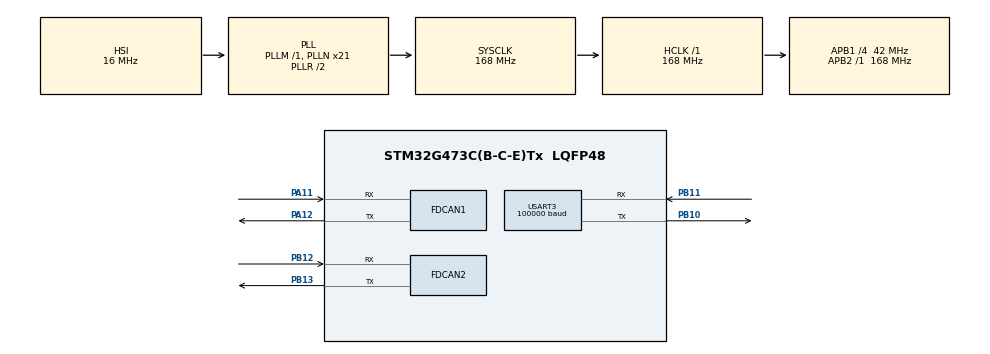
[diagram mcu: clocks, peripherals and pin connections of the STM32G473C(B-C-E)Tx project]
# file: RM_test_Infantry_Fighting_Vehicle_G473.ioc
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Dma.Request0=USART3_RX
Dma.USART3_RX.0.Direction=DMA_PERIPH_TO_MEMORY
Dma.USART3_RX.0.EventEnable=DISABLE
Dma.USART3_RX.0.Instance=DMA1_Channel1
Dma.USART3_RX.0.MemDataAlignment=DMA_MDATAALIGN_BYTE
Dma.USART3_RX.0.MemInc=DMA_MINC_ENABLE
Dma.USART3_RX.0.Mode=DMA_CIRCULAR
Dma.USART3_RX.0.PeriphDataAlignment=DMA_PDATAALIGN_BYTE
Dma.USART3_RX.0.PeriphInc=DMA_PINC_DISABLE
Dma.USART3_RX.0.Polarity=HAL_DMAMUX_REQ_GEN_RISING
Dma.USART3_RX.0.Priority=DMA_PRIORITY_LOW
Dma.USART3_RX.0.RequestNumber=1
Dma.USART3_RX.0.SignalID=NONE
Dma.USART3_RX.0.SyncEnable=DISABLE
Dma.USART3_RX.0.SyncPolarity=HAL_DMAMUX_SYNC_NO_EVENT
Dma.USART3_RX.0.SyncRequestNumber=1
Dma.USART3_RX.0.SyncSignalID=NONE
FDCAN1.CalculateBaudRateNominal=525000
FDCAN1.CalculateTimeBitNominal=1904
FDCAN1.CalculateTimeQuantumNominal=380.95238095238096
FDCAN2.CalculateBaudRateNominal=1000000
FDCAN2.CalculateTimeBitNominal=1000
FDCAN2.CalculateTimeQuantumNominal=71.42857142857143
FDCAN2.NominalPrescaler=3
FDCAN2.NominalTimeSeg1=10
FDCAN2.NominalTimeSeg2=3
Mcu.Family=STM32G4
Mcu.Name=STM32G473C(B-C-E)Tx
Mcu.Package=LQFP48
NVIC.DMA1_Channel1_IRQn=true\:0\:0\:false\:false\:true\:false\:true\:true
NVIC.FDCAN2_IT0_IRQn=true\:0\:0\:false\:false\:true\:true\:true\:true
NVIC.FDCAN2_IT1_IRQn=true\:0\:0\:false\:false\:true\:true\:true\:true
NVIC.PriorityGroup=NVIC_PRIORITYGROUP_4
NVIC.USART3_IRQn=true\:0\:0\:false\:false\:true\:true\:true\:true
PA11.Mode=FDCAN_Activate
PA11.Signal=FDCAN1_RX
PA12.Mode=FDCAN_Activate
PA12.Signal=FDCAN1_TX
PA13.Mode=Serial_Wire
PA13.Signal=SYS_JTMS-SWDIO
PA14.Mode=Serial_Wire
PA14.Signal=SYS_JTCK-SWCLK
PB10.Mode=Asynchronous
PB10.Signal=USART3_TX
PB11.Mode=Asynchronous
PB11.Signal=USART3_RX
PB12.Mode=FDCAN_Activate
PB12.Signal=FDCAN2_RX
PB13.Mode=FDCAN_Activate
PB13.Signal=FDCAN2_TX
PF0-OSC_IN.Mode=HSE-External-Oscillator
PF0-OSC_IN.Signal=RCC_OSC_IN
PF1-OSC_OUT.Mode=HSE-External-Oscillator
PF1-OSC_OUT.Signal=RCC_OSC_OUT
ProjectManager.HeapSize=0x200
ProjectManager.StackSize=0x400
ProjectManager.TargetToolchain=MDK-ARM V5.32
RCC.ADC12Freq_Value=168000000
RCC.ADC345Freq_Value=168000000
RCC.AHBFreq_Value=168000000
RCC.APB1CLKDivider=RCC_HCLK_DIV4
RCC.APB1Freq_Value=42000000
RCC.APB1TimFreq_Value=84000000
RCC.APB2Freq_Value=168000000
RCC.APB2TimFreq_Value=168000000
RCC.CortexFreq_Value=168000000
RCC.EXTERNAL_CLOCK_VALUE=12288000
RCC.HCLKFreq_Value=168000000
RCC.HSE_VALUE=8000000
RCC.HSI48_VALUE=48000000
RCC.HSI_VALUE=16000000
RCC.LSE_VALUE=32768
RCC.PLLN=21
RCC.SYSCLKFreq_VALUE=168000000
RCC.SYSCLKSource=RCC_SYSCLKSOURCE_PLLCLK
RCC.USBFreq_Value=168000000
RCC.VCOOutputFreq_Value=336000000
USART3.BaudRate=100000
USART3.Parity=PARITY_EVEN
USART3.RxPinLevelInvertParam=ADVFEATURE_RXINV_ENABLE
USART3.VirtualMode-Asynchronous=VM_ASYNC
USART3.WordLength=WORDLENGTH_9B
VP_SYS_VS_DBSignals.Mode=DisableDeadBatterySignals
board=custom

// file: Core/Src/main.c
/* USER CODE BEGIN Header */
/**
  ******************************************************************************
  * @file           : main.c
  * @brief          : Main program body
  ******************************************************************************
  * @attention
  *
  * Copyright (c) 2024 STMicroelectronics.
  * All rights reserved.
  *
  * This software is licensed under terms that can be found in the LICENSE file
  * in the root directory of this software component.
  * If no LICENSE file comes with this software, it is provided AS-IS.
  *
  ******************************************************************************
  */
/* USER CODE END Header */
#include "main.h"
#include "dma.h"
#include "fdcan.h"
#include "usart.h"
#include "gpio.h"

/* USER CODE BEGIN Includes */
#include "DR16.h"
#include "string.h"
#include "motor.h"
#include "pid.h"
#include "motor_message.h"
/* USER CODE END Includes */

/* USER CODE BEGIN PD */

#define rxBufferLen 18
#define __HAL_DMA_SET_COUNTER(__HANDLE__, __COUNTER__) ((__HANDLE__)->Instance->CNDTR = (uint16_t)(__COUNTER__))

#define CAN_3508_M1_ID 0x201
#define CAN_3508_M2_ID 0x202
#define CAN_3508_M3_ID 0x203
#define CAN_3508_M4_ID 0x204
#define CAN_6020_M1_ID 0x205
#define CAN_6020_M2_ID 0x206

//#define __HAL_DMA_GET_COUNTER(__HANDLE__) ((__HANDLE__)->Instance->CNDTR)

/* USER CODE END PD */

/* USER CODE BEGIN PV */

char DR16Buffer[rxBufferLen] ;
Controller controller ;//DT7传过来的控制信息(all)
motor_tasks Motor_Tasks ;

//motor_tasks Motor_Tasks ;//所有电机的控制

/* USER CODE END PV */

void SystemClock_Config(void);

/* USER CODE BEGIN 0 */

void UART_InitDMAReceive(void);//空闲中断初始化

//DMA空闲中断回调函数
void UART_DMAIdleCallback( UART_HandleTypeDef *huart ) {
	if( huart == &huart3 ) {
		__HAL_DMA_DISABLE(huart->hdmarx) ;//停止DMA接收
		int dataLen = rxBufferLen-__HAL_DMA_GET_COUNTER(huart->hdmarx);

		DR16_command_process(&controller,(uint8_t*)DR16Buffer);//获取数据

		memset(DR16Buffer,0,sizeof(DR16Buffer));

		gimbal_control(&controller,&Motor_Tasks);
		chasis_moving_encoder( &Motor_Tasks , &controller );

		//重启DMA接收
		__HAL_DMA_SET_COUNTER(huart->hdmarx , rxBufferLen );
		__HAL_DMA_ENABLE(huart->hdmarx) ;//要先重设DMA计数器，再使能DMA

	}
}

void HAL_FDCAN_RxFifo0MsgPendingCallback(FDCAN_HandleTypeDef *hfdcan)  //FDCAN新消息中断
{
    FDCAN_RxHeaderTypeDef rxHeader;

    // 从 FIFO0 读取消息
	if(hfdcan == &hfdcan1 ) {

			uint8_t rxData[8]; // 根据数据长度调整
			if (HAL_FDCAN_GetRxMessage(hfdcan, FDCAN_RX_FIFO0, &rxHeader, rxData) == HAL_OK)
			{
					// 处理接收到的数据
					// 例如，可以根据 rxHeader.ID 进行消息分类
				switch (rxHeader.Identifier ) {
					case CAN_3508_M1_ID :
					{
						fdcan_message_get(&Motor_Tasks.chasis_motor_1,rxData );
						break;
					}
					case CAN_3508_M2_ID :
					{
						fdcan_message_get(&Motor_Tasks.chasis_motor_2,rxData );
						break;
					}
					case CAN_3508_M3_ID :
					{
						fdcan_message_get(&Motor_Tasks.chasis_motor_3,rxData );
						break;
					}
					case CAN_3508_M4_ID :
					{
						fdcan_message_get(&Motor_Tasks.chasis_motor_4,rxData );
						break;
					}
					case CAN_6020_M1_ID :
					{
						fdcan_message_get(&Motor_Tasks.gimbal_yaw_motor,rxData );
						break;
					}
					case CAN_6020_M2_ID :
					{
						fdcan_message_get(&Motor_Tasks.gimbal_pitch_motor,rxData );
						break;
					}
					default:
					{
						break ;
					}
				}
			}
		}

}

void Init_Motors() {

	Clear_Cascade_PID( &Motor_Tasks.gimbal_yaw_pid) ;//PID清理
	Init_Cascade_PID( &Motor_Tasks.gimbal_yaw_pid );//PID初始化
	Motor_Tasks.gimbal_yaw_motor.ex_angle = 0 ;
	Motor_Tasks.gimbal_yaw_motor.ex_speed = 0 ;

	Clear_Cascade_PID( &Motor_Tasks.gimbal_pitch_pid) ;//PID清理
	Init_Cascade_PID( &Motor_Tasks.gimbal_pitch_pid );//PID初始化
	Motor_Tasks.gimbal_pitch_motor.ex_angle = 0 ;
	Motor_Tasks.gimbal_pitch_motor.ex_speed = 0 ;

	//底盘PID的初始化
	Init_chasis_PID(&Motor_Tasks.chasis_pid_1);
	Init_chasis_PID(&Motor_Tasks.chasis_pid_2);
	Init_chasis_PID(&Motor_Tasks.chasis_pid_3);
	Init_chasis_PID(&Motor_Tasks.chasis_pid_4);

}

/* USER CODE END 0 */

int main(void)
{

  /* MCU Configuration--------------------------------------------------------*/

  /* Reset of all peripherals, Initializes the Flash interface and the Systick. */
  HAL_Init();

  /* Configure the system clock */
  SystemClock_Config();

  /* Initialize all configured peripherals */
  MX_GPIO_Init();
  MX_DMA_Init();
  MX_USART3_UART_Init();
  MX_FDCAN1_Init();
  MX_FDCAN2_Init();
  /* USER CODE BEGIN 2 */
	UART_InitDMAReceive();
	Init_Motors();
  /* USER CODE END 2 */

  /* Infinite loop */
  /* USER CODE BEGIN WHILE */
  while (1)
  {
		Motor_PID_update(&Motor_Tasks);
		chasis_pid_excute(&Motor_Tasks);
		chasis_motor_message_send(&hfdcan1,&Motor_Tasks);
		HAL_Delay(1);
    /* USER CODE END WHILE */

  }
}

void SystemClock_Config(void)
{
  RCC_OscInitTypeDef RCC_OscInitStruct = {0};
  RCC_ClkInitTypeDef RCC_ClkInitStruct = {0};

  /** Configure the main internal regulator output voltage
  */
  HAL_PWREx_ControlVoltageScaling(PWR_REGULATOR_VOLTAGE_SCALE1_BOOST);

  /** Initializes the RCC Oscillators according to the specified parameters
  * in the RCC_OscInitTypeDef structure.
  */
  RCC_OscInitStruct.OscillatorType = RCC_OSCILLATORTYPE_HSI;
  RCC_OscInitStruct.HSIState = RCC_HSI_ON;
  RCC_OscInitStruct.HSICalibrationValue = RCC_HSICALIBRATION_DEFAULT;
  RCC_OscInitStruct.PLL.PLLState = RCC_PLL_ON;
  RCC_OscInitStruct.PLL.PLLSource = RCC_PLLSOURCE_HSI;
  RCC_OscInitStruct.PLL.PLLM = RCC_PLLM_DIV1;
  RCC_OscInitStruct.PLL.PLLN = 21;
  RCC_OscInitStruct.PLL.PLLP = RCC_PLLP_DIV2;
  RCC_OscInitStruct.PLL.PLLQ = RCC_PLLQ_DIV2;
  RCC_OscInitStruct.PLL.PLLR = RCC_PLLR_DIV2;
  if (HAL_RCC_OscConfig(&RCC_OscInitStruct) != HAL_OK)
  {
    Error_Handler();
  }

  /** Initializes the CPU, AHB and APB buses clocks
  */
  RCC_ClkInitStruct.ClockType = RCC_CLOCKTYPE_HCLK|RCC_CLOCKTYPE_SYSCLK
                              |RCC_CLOCKTYPE_PCLK1|RCC_CLOCKTYPE_PCLK2;
  RCC_ClkInitStruct.SYSCLKSource = RCC_SYSCLKSOURCE_PLLCLK;
  RCC_ClkInitStruct.AHBCLKDivider = RCC_SYSCLK_DIV1;
  RCC_ClkInitStruct.APB1CLKDivider = RCC_HCLK_DIV4;
  RCC_ClkInitStruct.APB2CLKDivider = RCC_HCLK_DIV1;

  if (HAL_RCC_ClockConfig(&RCC_ClkInitStruct, FLASH_LATENCY_4) != HAL_OK)
  {
    Error_Handler();
  }
}

/* USER CODE BEGIN 4 */

void UART_InitDMAReceive(void ) {
	__HAL_UART_CLEAR_IDLEFLAG(&huart3) ;
	__HAL_UART_ENABLE_IT( &huart3 , UART_IT_IDLE );

	HAL_UART_Receive_DMA( &huart3 , (uint8_t*)DR16Buffer , rxBufferLen );
}

/* USER CODE END 4 */

void Error_Handler(void)
{
  __disable_irq();
  while (1)
  {
  }
}
